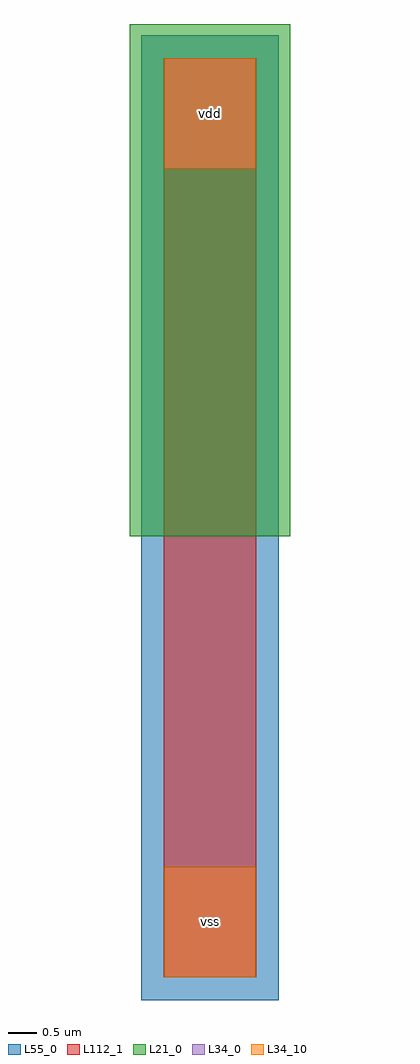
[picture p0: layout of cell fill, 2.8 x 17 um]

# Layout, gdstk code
import gdstk
lib = gdstk.Library(unit=1e-6, precision=1e-09)
def R(c, l, rs):  # rectangles x0, y0, x1, y1
    for r in rs: c.add(gdstk.rectangle(r[:2], r[2:], *l))
L21_0 = (21, 0)
L34_0 = (34, 0)
L34_10 = (34, 10)
L55_0 = (55, 0)
L112_1 = (112, 1)

fill = lib.new_cell('fill')
R(fill, L21_0, [(-0.6,7.68,2.2,16.6)])
R(fill, L34_0, [(0,0,1.6,1.92), (0,14.08,1.6,16)])
R(fill, L34_10, [(0,0,1.6,1.92), (0,14.08,1.6,16)])
R(fill, L55_0, [(-0.4,-0.4,2,16.4)])
R(fill, L112_1, [(-0.005,-0.005,1.605,16.005)])
fill.add(gdstk.Label('vdd', (0.8,15.04), layer=34, texttype=10))
fill.add(gdstk.Label('vss', (0.8,0.96), layer=34, texttype=10))

lib.write_gds('fill.gds')
